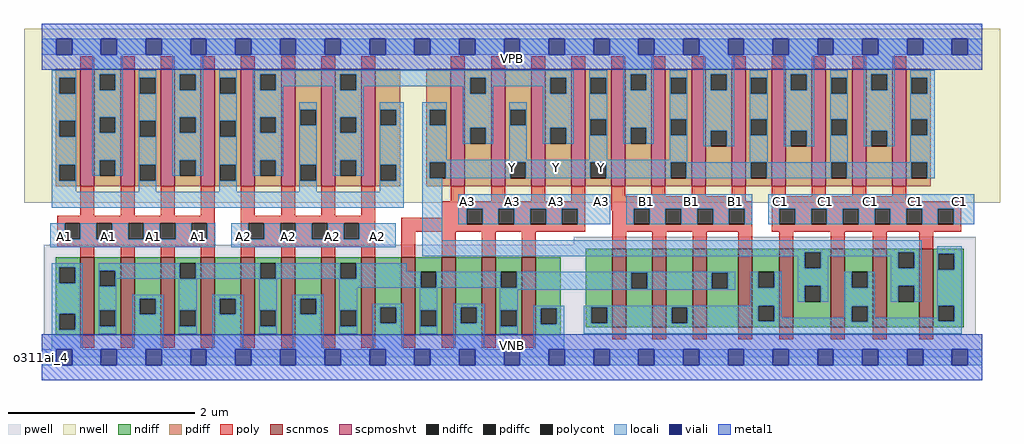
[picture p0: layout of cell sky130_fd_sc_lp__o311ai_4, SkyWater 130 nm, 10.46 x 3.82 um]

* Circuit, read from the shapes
.subckt sky130_fd_sc_lp__o311ai_4 A1 A2 A3 B1 C1 VGND VNB VPB VPWR Y
XM1 n1 A1 VGND VNB sky130_fd_pr__nfet_01v8 w=0.84 l=0.15 m=4
XM2 n1 A2 VGND VNB sky130_fd_pr__nfet_01v8 w=0.84 l=0.15 m=4
XM3 n1 A3 VGND VNB sky130_fd_pr__nfet_01v8 w=0.84 l=0.15 m=4
XM4 n1 B1 n2 VNB sky130_fd_pr__nfet_01v8 w=0.84 l=0.15 m=4
XM5 Y C1 n2 VNB sky130_fd_pr__nfet_01v8 w=0.84 l=0.15 m=4
XM6 VPWR A1 n3 VPB sky130_fd_pr__pfet_01v8_hvt w=1.26 l=0.15 m=4
XM7 n4 A2 n3 VPB sky130_fd_pr__pfet_01v8_hvt w=1.26 l=0.15 m=4
XM8 n4 A3 Y VPB sky130_fd_pr__pfet_01v8_hvt w=1.26 l=0.15 m=4
XM9 VPWR B1 Y VPB sky130_fd_pr__pfet_01v8_hvt w=1.26 l=0.15 m=4
XM10 VPWR C1 Y VPB sky130_fd_pr__pfet_01v8_hvt w=1.26 l=0.15 m=4
.ends

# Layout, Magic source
magic
tech sky130A
magscale 1 2
<< nwell >>
rect -38 331 2054 704
<< pwell >>
rect 1140 241 2002 259
rect 4 49 2002 241
rect 0 0 2016 49
<< scnmos >>
rect 83 47 113 215
rect 169 47 199 215
rect 255 47 285 215
rect 341 47 371 215
rect 427 47 457 215
rect 513 47 543 215
rect 599 47 629 215
rect 685 47 715 215
rect 771 47 801 215
rect 857 47 887 215
rect 943 47 973 215
rect 1029 47 1059 215
rect 1223 65 1253 233
rect 1309 65 1339 233
rect 1395 65 1425 233
rect 1493 65 1523 233
rect 1581 65 1611 233
rect 1691 65 1721 233
rect 1781 65 1811 233
rect 1881 65 1911 233
<< scpmoshvt >>
rect 83 367 113 619
rect 169 367 199 619
rect 255 367 285 619
rect 341 367 371 619
rect 427 367 457 619
rect 513 367 543 619
rect 599 367 629 619
rect 685 367 715 619
rect 877 367 907 619
rect 963 367 993 619
rect 1049 367 1079 619
rect 1135 367 1165 619
rect 1221 367 1251 619
rect 1307 367 1337 619
rect 1393 367 1423 619
rect 1479 367 1509 619
rect 1565 367 1595 619
rect 1651 367 1681 619
rect 1737 367 1767 619
rect 1823 367 1853 619
<< ndiff >>
rect 30 193 83 215
rect 30 159 38 193
rect 72 159 83 193
rect 30 93 83 159
rect 30 59 38 93
rect 72 59 83 93
rect 30 47 83 59
rect 113 186 169 215
rect 113 152 124 186
rect 158 152 169 186
rect 113 101 169 152
rect 113 67 124 101
rect 158 67 169 101
rect 113 47 169 67
rect 199 126 255 215
rect 199 92 210 126
rect 244 92 255 126
rect 199 47 255 92
rect 285 202 341 215
rect 285 168 296 202
rect 330 168 341 202
rect 285 101 341 168
rect 285 67 296 101
rect 330 67 341 101
rect 285 47 341 67
rect 371 126 427 215
rect 371 92 382 126
rect 416 92 427 126
rect 371 47 427 92
rect 457 202 513 215
rect 457 168 468 202
rect 502 168 513 202
rect 457 101 513 168
rect 457 67 468 101
rect 502 67 513 101
rect 457 47 513 67
rect 543 126 599 215
rect 543 92 554 126
rect 588 92 599 126
rect 543 47 599 92
rect 629 202 685 215
rect 629 168 640 202
rect 674 168 685 202
rect 629 101 685 168
rect 629 67 640 101
rect 674 67 685 101
rect 629 47 685 67
rect 715 107 771 215
rect 715 73 726 107
rect 760 73 771 107
rect 715 47 771 73
rect 801 183 857 215
rect 801 149 812 183
rect 846 149 857 183
rect 801 101 857 149
rect 801 67 812 101
rect 846 67 857 101
rect 801 47 857 67
rect 887 107 943 215
rect 887 73 898 107
rect 932 73 943 107
rect 887 47 943 73
rect 973 183 1029 215
rect 973 149 984 183
rect 1018 149 1029 183
rect 973 101 1029 149
rect 973 67 984 101
rect 1018 67 1029 101
rect 973 47 1029 67
rect 1059 105 1112 215
rect 1059 71 1070 105
rect 1104 71 1112 105
rect 1059 47 1112 71
rect 1166 107 1223 233
rect 1166 73 1178 107
rect 1212 73 1223 107
rect 1166 65 1223 73
rect 1253 181 1309 233
rect 1253 147 1264 181
rect 1298 147 1309 181
rect 1253 65 1309 147
rect 1339 107 1395 233
rect 1339 73 1350 107
rect 1384 73 1395 107
rect 1339 65 1395 73
rect 1425 181 1493 233
rect 1425 147 1436 181
rect 1470 147 1493 181
rect 1425 65 1493 147
rect 1523 183 1581 233
rect 1523 149 1536 183
rect 1570 149 1581 183
rect 1523 111 1581 149
rect 1523 77 1536 111
rect 1570 77 1581 111
rect 1523 65 1581 77
rect 1611 225 1691 233
rect 1611 191 1636 225
rect 1670 191 1691 225
rect 1611 153 1691 191
rect 1611 119 1636 153
rect 1670 119 1691 153
rect 1611 65 1691 119
rect 1721 183 1781 233
rect 1721 149 1736 183
rect 1770 149 1781 183
rect 1721 110 1781 149
rect 1721 76 1736 110
rect 1770 76 1781 110
rect 1721 65 1781 76
rect 1811 225 1881 233
rect 1811 191 1836 225
rect 1870 191 1881 225
rect 1811 153 1881 191
rect 1811 119 1836 153
rect 1870 119 1881 153
rect 1811 65 1881 119
rect 1911 222 1976 233
rect 1911 188 1922 222
rect 1956 188 1976 222
rect 1911 111 1976 188
rect 1911 77 1922 111
rect 1956 77 1976 111
rect 1911 65 1976 77
<< pdiff >>
rect 30 599 83 619
rect 30 565 38 599
rect 72 565 83 599
rect 30 507 83 565
rect 30 473 38 507
rect 72 473 83 507
rect 30 413 83 473
rect 30 379 38 413
rect 72 379 83 413
rect 30 367 83 379
rect 113 607 169 619
rect 113 573 124 607
rect 158 573 169 607
rect 113 515 169 573
rect 113 481 124 515
rect 158 481 169 515
rect 113 423 169 481
rect 113 389 124 423
rect 158 389 169 423
rect 113 367 169 389
rect 199 599 255 619
rect 199 565 210 599
rect 244 565 255 599
rect 199 507 255 565
rect 199 473 210 507
rect 244 473 255 507
rect 199 413 255 473
rect 199 379 210 413
rect 244 379 255 413
rect 199 367 255 379
rect 285 607 341 619
rect 285 573 296 607
rect 330 573 341 607
rect 285 515 341 573
rect 285 481 296 515
rect 330 481 341 515
rect 285 423 341 481
rect 285 389 296 423
rect 330 389 341 423
rect 285 367 341 389
rect 371 599 427 619
rect 371 565 382 599
rect 416 565 427 599
rect 371 507 427 565
rect 371 473 382 507
rect 416 473 427 507
rect 371 413 427 473
rect 371 379 382 413
rect 416 379 427 413
rect 371 367 427 379
rect 457 607 513 619
rect 457 573 468 607
rect 502 573 513 607
rect 457 515 513 573
rect 457 481 468 515
rect 502 481 513 515
rect 457 423 513 481
rect 457 389 468 423
rect 502 389 513 423
rect 457 367 513 389
rect 543 531 599 619
rect 543 497 554 531
rect 588 497 599 531
rect 543 413 599 497
rect 543 379 554 413
rect 588 379 599 413
rect 543 367 599 379
rect 629 607 685 619
rect 629 573 640 607
rect 674 573 685 607
rect 629 515 685 573
rect 629 481 640 515
rect 674 481 685 515
rect 629 423 685 481
rect 629 389 640 423
rect 674 389 685 423
rect 629 367 685 389
rect 715 531 768 619
rect 715 497 726 531
rect 760 497 768 531
rect 715 413 768 497
rect 715 379 726 413
rect 760 379 768 413
rect 715 367 768 379
rect 824 531 877 619
rect 824 497 832 531
rect 866 497 877 531
rect 824 418 877 497
rect 824 384 832 418
rect 866 384 877 418
rect 824 367 877 384
rect 907 599 963 619
rect 907 565 918 599
rect 952 565 963 599
rect 907 492 963 565
rect 907 458 918 492
rect 952 458 963 492
rect 907 367 963 458
rect 993 531 1049 619
rect 993 497 1004 531
rect 1038 497 1049 531
rect 993 418 1049 497
rect 993 384 1004 418
rect 1038 384 1049 418
rect 993 367 1049 384
rect 1079 599 1135 619
rect 1079 565 1090 599
rect 1124 565 1135 599
rect 1079 492 1135 565
rect 1079 458 1090 492
rect 1124 458 1135 492
rect 1079 367 1135 458
rect 1165 599 1221 619
rect 1165 565 1176 599
rect 1210 565 1221 599
rect 1165 510 1221 565
rect 1165 476 1176 510
rect 1210 476 1221 510
rect 1165 418 1221 476
rect 1165 384 1176 418
rect 1210 384 1221 418
rect 1165 367 1221 384
rect 1251 607 1307 619
rect 1251 573 1262 607
rect 1296 573 1307 607
rect 1251 492 1307 573
rect 1251 458 1262 492
rect 1296 458 1307 492
rect 1251 367 1307 458
rect 1337 599 1393 619
rect 1337 565 1348 599
rect 1382 565 1393 599
rect 1337 510 1393 565
rect 1337 476 1348 510
rect 1382 476 1393 510
rect 1337 418 1393 476
rect 1337 384 1348 418
rect 1382 384 1393 418
rect 1337 367 1393 384
rect 1423 607 1479 619
rect 1423 573 1434 607
rect 1468 573 1479 607
rect 1423 486 1479 573
rect 1423 452 1434 486
rect 1468 452 1479 486
rect 1423 367 1479 452
rect 1509 599 1565 619
rect 1509 565 1520 599
rect 1554 565 1565 599
rect 1509 510 1565 565
rect 1509 476 1520 510
rect 1554 476 1565 510
rect 1509 418 1565 476
rect 1509 384 1520 418
rect 1554 384 1565 418
rect 1509 367 1565 384
rect 1595 607 1651 619
rect 1595 573 1606 607
rect 1640 573 1651 607
rect 1595 486 1651 573
rect 1595 452 1606 486
rect 1640 452 1651 486
rect 1595 367 1651 452
rect 1681 599 1737 619
rect 1681 565 1692 599
rect 1726 565 1737 599
rect 1681 510 1737 565
rect 1681 476 1692 510
rect 1726 476 1737 510
rect 1681 418 1737 476
rect 1681 384 1692 418
rect 1726 384 1737 418
rect 1681 367 1737 384
rect 1767 607 1823 619
rect 1767 573 1778 607
rect 1812 573 1823 607
rect 1767 486 1823 573
rect 1767 452 1778 486
rect 1812 452 1823 486
rect 1767 367 1823 452
rect 1853 599 1906 619
rect 1853 565 1864 599
rect 1898 565 1906 599
rect 1853 510 1906 565
rect 1853 476 1864 510
rect 1898 476 1906 510
rect 1853 418 1906 476
rect 1853 384 1864 418
rect 1898 384 1906 418
rect 1853 367 1906 384
<< ndiffc >>
rect 38 159 72 193
rect 38 59 72 93
rect 124 152 158 186
rect 124 67 158 101
rect 210 92 244 126
rect 296 168 330 202
rect 296 67 330 101
rect 382 92 416 126
rect 468 168 502 202
rect 468 67 502 101
rect 554 92 588 126
rect 640 168 674 202
rect 640 67 674 101
rect 726 73 760 107
rect 812 149 846 183
rect 812 67 846 101
rect 898 73 932 107
rect 984 149 1018 183
rect 984 67 1018 101
rect 1070 71 1104 105
rect 1178 73 1212 107
rect 1264 147 1298 181
rect 1350 73 1384 107
rect 1436 147 1470 181
rect 1536 149 1570 183
rect 1536 77 1570 111
rect 1636 191 1670 225
rect 1636 119 1670 153
rect 1736 149 1770 183
rect 1736 76 1770 110
rect 1836 191 1870 225
rect 1836 119 1870 153
rect 1922 188 1956 222
rect 1922 77 1956 111
<< pdiffc >>
rect 38 565 72 599
rect 38 473 72 507
rect 38 379 72 413
rect 124 573 158 607
rect 124 481 158 515
rect 124 389 158 423
rect 210 565 244 599
rect 210 473 244 507
rect 210 379 244 413
rect 296 573 330 607
rect 296 481 330 515
rect 296 389 330 423
rect 382 565 416 599
rect 382 473 416 507
rect 382 379 416 413
rect 468 573 502 607
rect 468 481 502 515
rect 468 389 502 423
rect 554 497 588 531
rect 554 379 588 413
rect 640 573 674 607
rect 640 481 674 515
rect 640 389 674 423
rect 726 497 760 531
rect 726 379 760 413
rect 832 497 866 531
rect 832 384 866 418
rect 918 565 952 599
rect 918 458 952 492
rect 1004 497 1038 531
rect 1004 384 1038 418
rect 1090 565 1124 599
rect 1090 458 1124 492
rect 1176 565 1210 599
rect 1176 476 1210 510
rect 1176 384 1210 418
rect 1262 573 1296 607
rect 1262 458 1296 492
rect 1348 565 1382 599
rect 1348 476 1382 510
rect 1348 384 1382 418
rect 1434 573 1468 607
rect 1434 452 1468 486
rect 1520 565 1554 599
rect 1520 476 1554 510
rect 1520 384 1554 418
rect 1606 573 1640 607
rect 1606 452 1640 486
rect 1692 565 1726 599
rect 1692 476 1726 510
rect 1692 384 1726 418
rect 1778 573 1812 607
rect 1778 452 1812 486
rect 1864 565 1898 599
rect 1864 476 1898 510
rect 1864 384 1898 418
<< poly >>
rect 83 619 113 645
rect 169 619 199 645
rect 255 619 285 645
rect 341 619 371 645
rect 427 619 457 645
rect 513 619 543 645
rect 599 619 629 645
rect 685 619 715 645
rect 877 619 907 645
rect 963 619 993 645
rect 1049 619 1079 645
rect 1135 619 1165 645
rect 1221 619 1251 645
rect 1307 619 1337 645
rect 1393 619 1423 645
rect 1479 619 1509 645
rect 1565 619 1595 645
rect 1651 619 1681 645
rect 1737 619 1767 645
rect 1823 619 1853 645
rect 83 303 113 367
rect 169 303 199 367
rect 255 303 285 367
rect 341 303 371 367
rect 33 287 371 303
rect 33 253 49 287
rect 83 253 117 287
rect 151 253 185 287
rect 219 253 253 287
rect 287 253 321 287
rect 355 253 371 287
rect 33 237 371 253
rect 83 215 113 237
rect 169 215 199 237
rect 255 215 285 237
rect 341 215 371 237
rect 427 303 457 367
rect 513 303 543 367
rect 599 303 629 367
rect 685 303 715 367
rect 877 335 907 367
rect 963 335 993 367
rect 1049 335 1079 367
rect 1135 335 1165 367
rect 427 287 715 303
rect 857 319 1165 335
rect 857 299 911 319
rect 427 253 443 287
rect 477 253 511 287
rect 545 253 579 287
rect 613 253 647 287
rect 681 253 715 287
rect 427 237 715 253
rect 427 215 457 237
rect 513 215 543 237
rect 599 215 629 237
rect 685 215 715 237
rect 771 285 911 299
rect 945 285 979 319
rect 1013 285 1047 319
rect 1081 285 1115 319
rect 1149 285 1165 319
rect 1221 345 1251 367
rect 1307 345 1337 367
rect 1393 345 1423 367
rect 1479 345 1509 367
rect 1221 335 1509 345
rect 1565 345 1595 367
rect 1651 345 1681 367
rect 1737 345 1767 367
rect 1823 345 1853 367
rect 1565 335 1853 345
rect 1221 319 1523 335
rect 1221 315 1269 319
rect 771 269 1165 285
rect 1223 285 1269 315
rect 1303 285 1337 319
rect 1371 285 1405 319
rect 1439 285 1473 319
rect 1507 285 1523 319
rect 1223 269 1523 285
rect 1565 319 1971 335
rect 1565 285 1581 319
rect 1615 285 1649 319
rect 1683 285 1717 319
rect 1751 285 1785 319
rect 1819 285 1853 319
rect 1887 285 1921 319
rect 1955 285 1971 319
rect 1565 269 1971 285
rect 771 215 801 269
rect 857 215 887 269
rect 943 215 973 269
rect 1029 215 1059 269
rect 1223 233 1253 269
rect 1309 233 1339 269
rect 1395 233 1425 269
rect 1493 233 1523 269
rect 1581 233 1611 269
rect 1691 233 1721 269
rect 1781 233 1811 269
rect 1881 233 1911 269
rect 83 21 113 47
rect 169 21 199 47
rect 255 21 285 47
rect 341 21 371 47
rect 427 21 457 47
rect 513 21 543 47
rect 599 21 629 47
rect 685 21 715 47
rect 771 21 801 47
rect 857 21 887 47
rect 943 21 973 47
rect 1029 21 1059 47
rect 1223 39 1253 65
rect 1309 39 1339 65
rect 1395 39 1425 65
rect 1493 39 1523 65
rect 1581 39 1611 65
rect 1691 39 1721 65
rect 1781 39 1811 65
rect 1881 39 1911 65
<< polycont >>
rect 49 253 83 287
rect 117 253 151 287
rect 185 253 219 287
rect 253 253 287 287
rect 321 253 355 287
rect 443 253 477 287
rect 511 253 545 287
rect 579 253 613 287
rect 647 253 681 287
rect 911 285 945 319
rect 979 285 1013 319
rect 1047 285 1081 319
rect 1115 285 1149 319
rect 1269 285 1303 319
rect 1337 285 1371 319
rect 1405 285 1439 319
rect 1473 285 1507 319
rect 1581 285 1615 319
rect 1649 285 1683 319
rect 1717 285 1751 319
rect 1785 285 1819 319
rect 1853 285 1887 319
rect 1921 285 1955 319
<< locali >>
rect 0 649 31 683
rect 65 649 127 683
rect 161 649 223 683
rect 257 649 319 683
rect 353 649 415 683
rect 449 649 511 683
rect 545 649 607 683
rect 641 649 703 683
rect 737 649 799 683
rect 833 649 895 683
rect 929 649 991 683
rect 1025 649 1087 683
rect 1121 649 1183 683
rect 1217 649 1279 683
rect 1313 649 1375 683
rect 1409 649 1471 683
rect 1505 649 1567 683
rect 1601 649 1663 683
rect 1697 649 1759 683
rect 1793 649 1855 683
rect 1889 649 1951 683
rect 1985 649 2016 683
rect 22 599 74 615
rect 22 565 38 599
rect 72 565 74 599
rect 22 507 74 565
rect 22 473 38 507
rect 72 473 74 507
rect 22 413 74 473
rect 22 379 38 413
rect 72 379 74 413
rect 108 607 174 649
rect 108 573 124 607
rect 158 573 174 607
rect 108 515 174 573
rect 108 481 124 515
rect 158 481 174 515
rect 108 423 174 481
rect 108 389 124 423
rect 158 389 174 423
rect 208 599 246 615
rect 208 565 210 599
rect 244 565 246 599
rect 208 507 246 565
rect 208 473 210 507
rect 244 473 246 507
rect 208 413 246 473
rect 22 355 74 379
rect 208 379 210 413
rect 244 379 246 413
rect 280 607 346 649
rect 280 573 296 607
rect 330 573 346 607
rect 280 515 346 573
rect 280 481 296 515
rect 330 481 346 515
rect 280 423 346 481
rect 280 389 296 423
rect 330 389 346 423
rect 380 599 418 615
rect 380 565 382 599
rect 416 565 418 599
rect 380 507 418 565
rect 380 473 382 507
rect 416 473 418 507
rect 380 413 418 473
rect 208 355 246 379
rect 380 379 382 413
rect 416 379 418 413
rect 452 607 1140 615
rect 452 573 468 607
rect 502 581 640 607
rect 502 573 518 581
rect 452 515 518 573
rect 624 573 640 581
rect 674 599 1140 607
rect 674 581 918 599
rect 674 573 690 581
rect 452 481 468 515
rect 502 481 518 515
rect 452 423 518 481
rect 452 389 468 423
rect 502 389 518 423
rect 552 531 590 547
rect 552 497 554 531
rect 588 497 590 531
rect 552 413 590 497
rect 380 355 418 379
rect 552 379 554 413
rect 588 379 590 413
rect 624 515 690 573
rect 902 565 918 581
rect 952 581 1090 599
rect 952 565 968 581
rect 624 481 640 515
rect 674 481 690 515
rect 624 423 690 481
rect 624 389 640 423
rect 674 389 690 423
rect 724 531 776 547
rect 724 497 726 531
rect 760 497 776 531
rect 724 413 776 497
rect 552 355 590 379
rect 724 379 726 413
rect 760 379 776 413
rect 724 355 776 379
rect 22 321 776 355
rect 816 531 868 547
rect 816 497 832 531
rect 866 497 868 531
rect 816 424 868 497
rect 902 492 968 565
rect 1074 565 1090 581
rect 1124 565 1140 599
rect 902 458 918 492
rect 952 458 968 492
rect 1002 531 1040 547
rect 1002 497 1004 531
rect 1038 497 1040 531
rect 1002 424 1040 497
rect 1074 492 1140 565
rect 1074 458 1090 492
rect 1124 458 1140 492
rect 1174 599 1212 615
rect 1174 565 1176 599
rect 1210 565 1212 599
rect 1174 510 1212 565
rect 1174 476 1176 510
rect 1210 476 1212 510
rect 1174 424 1212 476
rect 1246 607 1312 649
rect 1246 573 1262 607
rect 1296 573 1312 607
rect 1246 492 1312 573
rect 1246 458 1262 492
rect 1296 458 1312 492
rect 1346 599 1384 615
rect 1346 565 1348 599
rect 1382 565 1384 599
rect 1346 510 1384 565
rect 1346 476 1348 510
rect 1382 476 1384 510
rect 1346 424 1384 476
rect 1418 607 1484 649
rect 1418 573 1434 607
rect 1468 573 1484 607
rect 1418 486 1484 573
rect 1418 452 1434 486
rect 1468 452 1484 486
rect 1518 599 1556 615
rect 1518 565 1520 599
rect 1554 565 1556 599
rect 1518 510 1556 565
rect 1518 476 1520 510
rect 1554 476 1556 510
rect 816 418 1384 424
rect 1518 418 1556 476
rect 1590 607 1656 649
rect 1590 573 1606 607
rect 1640 573 1656 607
rect 1590 486 1656 573
rect 1590 452 1606 486
rect 1640 452 1656 486
rect 1690 599 1728 615
rect 1690 565 1692 599
rect 1726 565 1728 599
rect 1690 510 1728 565
rect 1690 476 1692 510
rect 1726 476 1728 510
rect 1690 418 1728 476
rect 1762 607 1828 649
rect 1762 573 1778 607
rect 1812 573 1828 607
rect 1762 486 1828 573
rect 1762 452 1778 486
rect 1812 452 1828 486
rect 1862 599 1914 615
rect 1862 565 1864 599
rect 1898 565 1914 599
rect 1862 510 1914 565
rect 1862 476 1864 510
rect 1898 476 1914 510
rect 1862 418 1914 476
rect 816 384 832 418
rect 866 384 1004 418
rect 1038 384 1176 418
rect 1210 384 1348 418
rect 1382 384 1520 418
rect 1554 384 1692 418
rect 1726 384 1864 418
rect 1898 384 1914 418
rect 18 253 49 287
rect 83 253 117 287
rect 151 253 185 287
rect 219 253 253 287
rect 287 253 321 287
rect 355 253 372 287
rect 18 236 372 253
rect 406 253 443 287
rect 477 253 511 287
rect 545 253 579 287
rect 613 253 647 287
rect 681 253 759 287
rect 406 236 759 253
rect 816 251 859 384
rect 893 319 1219 350
rect 893 285 911 319
rect 945 285 979 319
rect 1013 285 1047 319
rect 1081 285 1115 319
rect 1149 285 1219 319
rect 1253 319 1523 350
rect 1253 285 1269 319
rect 1303 285 1337 319
rect 1371 285 1405 319
rect 1439 285 1473 319
rect 1507 285 1523 319
rect 1557 319 1999 350
rect 1557 285 1581 319
rect 1615 285 1649 319
rect 1683 285 1717 319
rect 1751 285 1785 319
rect 1819 285 1853 319
rect 1887 285 1921 319
rect 1955 285 1999 319
rect 816 225 1886 251
rect 816 217 1636 225
rect 22 193 88 202
rect 22 159 38 193
rect 72 159 88 193
rect 22 93 88 159
rect 22 59 38 93
rect 72 59 88 93
rect 22 17 88 59
rect 122 186 296 202
rect 122 152 124 186
rect 158 168 296 186
rect 330 168 468 202
rect 502 168 640 202
rect 674 183 782 202
rect 1620 191 1636 217
rect 1670 217 1836 225
rect 1670 191 1686 217
rect 674 168 812 183
rect 158 152 160 168
rect 122 101 160 152
rect 122 67 124 101
rect 158 67 160 101
rect 122 51 160 67
rect 194 126 260 134
rect 194 92 210 126
rect 244 92 260 126
rect 194 17 260 92
rect 294 101 332 168
rect 294 67 296 101
rect 330 67 332 101
rect 294 51 332 67
rect 366 126 432 134
rect 366 92 382 126
rect 416 92 432 126
rect 366 17 432 92
rect 466 101 504 168
rect 638 149 812 168
rect 846 149 984 183
rect 1018 181 1486 183
rect 1018 149 1264 181
rect 466 67 468 101
rect 502 67 504 101
rect 466 51 504 67
rect 538 126 604 134
rect 538 92 554 126
rect 588 92 604 126
rect 538 17 604 92
rect 638 101 676 149
rect 638 67 640 101
rect 674 67 676 101
rect 638 51 676 67
rect 710 107 776 115
rect 710 73 726 107
rect 760 73 776 107
rect 710 17 776 73
rect 810 101 848 149
rect 982 147 1264 149
rect 1298 147 1436 181
rect 1470 147 1486 181
rect 982 145 1486 147
rect 1520 149 1536 183
rect 1570 149 1586 183
rect 810 67 812 101
rect 846 67 848 101
rect 810 51 848 67
rect 882 107 948 115
rect 882 73 898 107
rect 932 73 948 107
rect 882 17 948 73
rect 982 101 1020 145
rect 1520 111 1586 149
rect 1620 153 1686 191
rect 1820 191 1836 217
rect 1870 191 1886 225
rect 1620 119 1636 153
rect 1670 119 1686 153
rect 1720 149 1736 183
rect 1770 149 1786 183
rect 982 67 984 101
rect 1018 67 1020 101
rect 982 51 1020 67
rect 1054 105 1120 111
rect 1054 71 1070 105
rect 1104 71 1120 105
rect 1054 17 1120 71
rect 1162 107 1536 111
rect 1162 73 1178 107
rect 1212 73 1350 107
rect 1384 77 1536 107
rect 1570 85 1586 111
rect 1720 110 1786 149
rect 1820 153 1886 191
rect 1820 119 1836 153
rect 1870 119 1886 153
rect 1920 222 1972 238
rect 1920 188 1922 222
rect 1956 188 1972 222
rect 1720 85 1736 110
rect 1570 77 1736 85
rect 1384 76 1736 77
rect 1770 85 1786 110
rect 1920 111 1972 188
rect 1920 85 1922 111
rect 1770 77 1922 85
rect 1956 77 1972 111
rect 1770 76 1972 77
rect 1384 73 1972 76
rect 1162 51 1972 73
rect 0 -17 31 17
rect 65 -17 127 17
rect 161 -17 223 17
rect 257 -17 319 17
rect 353 -17 415 17
rect 449 -17 511 17
rect 545 -17 607 17
rect 641 -17 703 17
rect 737 -17 799 17
rect 833 -17 895 17
rect 929 -17 991 17
rect 1025 -17 1087 17
rect 1121 -17 1183 17
rect 1217 -17 1279 17
rect 1313 -17 1375 17
rect 1409 -17 1471 17
rect 1505 -17 1567 17
rect 1601 -17 1663 17
rect 1697 -17 1759 17
rect 1793 -17 1855 17
rect 1889 -17 1951 17
rect 1985 -17 2016 17
<< viali >>
rect 31 649 65 683
rect 127 649 161 683
rect 223 649 257 683
rect 319 649 353 683
rect 415 649 449 683
rect 511 649 545 683
rect 607 649 641 683
rect 703 649 737 683
rect 799 649 833 683
rect 895 649 929 683
rect 991 649 1025 683
rect 1087 649 1121 683
rect 1183 649 1217 683
rect 1279 649 1313 683
rect 1375 649 1409 683
rect 1471 649 1505 683
rect 1567 649 1601 683
rect 1663 649 1697 683
rect 1759 649 1793 683
rect 1855 649 1889 683
rect 1951 649 1985 683
rect 31 -17 65 17
rect 127 -17 161 17
rect 223 -17 257 17
rect 319 -17 353 17
rect 415 -17 449 17
rect 511 -17 545 17
rect 607 -17 641 17
rect 703 -17 737 17
rect 799 -17 833 17
rect 895 -17 929 17
rect 991 -17 1025 17
rect 1087 -17 1121 17
rect 1183 -17 1217 17
rect 1279 -17 1313 17
rect 1375 -17 1409 17
rect 1471 -17 1505 17
rect 1567 -17 1601 17
rect 1663 -17 1697 17
rect 1759 -17 1793 17
rect 1855 -17 1889 17
rect 1951 -17 1985 17
<< metal1 >>
rect 0 683 2016 715
rect 0 649 31 683
rect 65 649 127 683
rect 161 649 223 683
rect 257 649 319 683
rect 353 649 415 683
rect 449 649 511 683
rect 545 649 607 683
rect 641 649 703 683
rect 737 649 799 683
rect 833 649 895 683
rect 929 649 991 683
rect 1025 649 1087 683
rect 1121 649 1183 683
rect 1217 649 1279 683
rect 1313 649 1375 683
rect 1409 649 1471 683
rect 1505 649 1567 683
rect 1601 649 1663 683
rect 1697 649 1759 683
rect 1793 649 1855 683
rect 1889 649 1951 683
rect 1985 649 2016 683
rect 0 617 2016 649
rect 0 17 2016 49
rect 0 -17 31 17
rect 65 -17 127 17
rect 161 -17 223 17
rect 257 -17 319 17
rect 353 -17 415 17
rect 449 -17 511 17
rect 545 -17 607 17
rect 641 -17 703 17
rect 737 -17 799 17
rect 833 -17 895 17
rect 929 -17 991 17
rect 1025 -17 1087 17
rect 1121 -17 1183 17
rect 1217 -17 1279 17
rect 1313 -17 1375 17
rect 1409 -17 1471 17
rect 1505 -17 1567 17
rect 1601 -17 1663 17
rect 1697 -17 1759 17
rect 1793 -17 1855 17
rect 1889 -17 1951 17
rect 1985 -17 2016 17
rect 0 -49 2016 -17
<< labels >>
flabel pwell s 0 0 2016 49 0 FreeSans 200 0 0 0 VNB
port 7 nsew ground bidirectional
flabel nwell s 0 617 2016 666 0 FreeSans 200 0 0 0 VPB
port 8 nsew power bidirectional
rlabel comment s 0 0 0 0 4 o311ai_4
flabel metal1 s 0 617 2016 666 0 FreeSans 340 0 0 0 VPWR
port 9 nsew power bidirectional
flabel metal1 s 0 0 2016 49 0 FreeSans 340 0 0 0 VGND
port 6 nsew ground bidirectional
flabel locali s 31 242 65 276 0 FreeSans 340 0 0 0 A1
port 1 nsew signal input
flabel locali s 127 242 161 276 0 FreeSans 340 0 0 0 A1
port 1 nsew signal input
flabel locali s 223 242 257 276 0 FreeSans 340 0 0 0 A1
port 1 nsew signal input
flabel locali s 319 242 353 276 0 FreeSans 340 0 0 0 A1
port 1 nsew signal input
flabel locali s 415 242 449 276 0 FreeSans 340 0 0 0 A2
port 2 nsew signal input
flabel locali s 511 242 545 276 0 FreeSans 340 0 0 0 A2
port 2 nsew signal input
flabel locali s 607 242 641 276 0 FreeSans 340 0 0 0 A2
port 2 nsew signal input
flabel locali s 703 242 737 276 0 FreeSans 340 0 0 0 A2
port 2 nsew signal input
flabel locali s 895 316 929 350 0 FreeSans 340 0 0 0 A3
port 3 nsew signal input
flabel locali s 991 316 1025 350 0 FreeSans 340 0 0 0 A3
port 3 nsew signal input
flabel locali s 1087 316 1121 350 0 FreeSans 340 0 0 0 A3
port 3 nsew signal input
flabel locali s 1183 316 1217 350 0 FreeSans 340 0 0 0 A3
port 3 nsew signal input
flabel locali s 1279 316 1313 350 0 FreeSans 340 0 0 0 B1
port 4 nsew signal input
flabel locali s 1375 316 1409 350 0 FreeSans 340 0 0 0 B1
port 4 nsew signal input
flabel locali s 1471 316 1505 350 0 FreeSans 340 0 0 0 B1
port 4 nsew signal input
flabel locali s 1567 316 1601 350 0 FreeSans 340 0 0 0 C1
port 5 nsew signal input
flabel locali s 1663 316 1697 350 0 FreeSans 340 0 0 0 C1
port 5 nsew signal input
flabel locali s 1759 316 1793 350 0 FreeSans 340 0 0 0 C1
port 5 nsew signal input
flabel locali s 1855 316 1889 350 0 FreeSans 340 0 0 0 C1
port 5 nsew signal input
flabel locali s 1951 316 1985 350 0 FreeSans 340 0 0 0 C1
port 5 nsew signal input
flabel locali s 991 390 1025 424 0 FreeSans 340 0 0 0 Y
port 10 nsew signal output
flabel locali s 1087 390 1121 424 0 FreeSans 340 0 0 0 Y
port 10 nsew signal output
flabel locali s 1183 390 1217 424 0 FreeSans 340 0 0 0 Y
port 10 nsew signal output
<< properties >>
string LEFsite unit
string LEFclass CORE
string FIXED_BBOX 0 0 2016 666
string GDS_FILE $PDKPATH/libs.ref/sky130_fd_sc_lp/gds/sky130_fd_sc_lp.gds
string LEFsymmetry X Y R90
string GDS_END 1585892
string GDS_START 1568196
<< end >>
